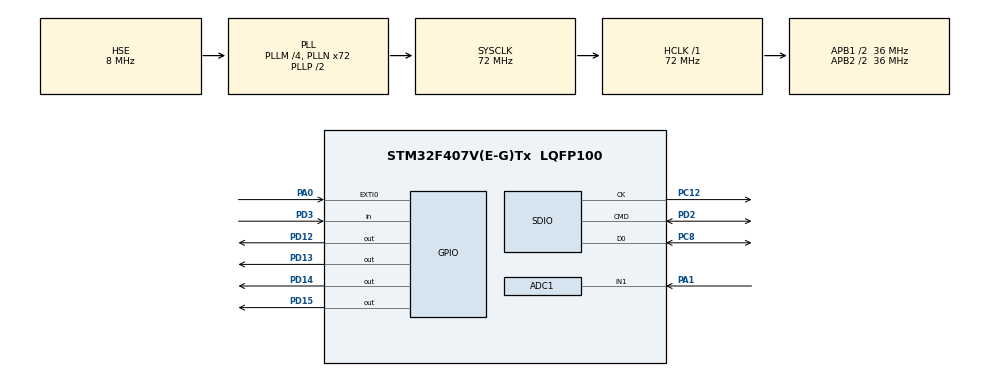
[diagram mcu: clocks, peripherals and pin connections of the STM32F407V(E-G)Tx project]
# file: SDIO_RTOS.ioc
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ADC1.Channel-0\#ChannelRegularConversion=ADC_CHANNEL_1
ADC1.NbrOfConversionFlag=1
ADC1.Rank-0\#ChannelRegularConversion=1
ADC1.SamplingTime-0\#ChannelRegularConversion=ADC_SAMPLETIME_3CYCLES
ADC1.master=1
Dma.Request0=SDIO_RX
Dma.Request1=SDIO_TX
Dma.SDIO_RX.0.Direction=DMA_PERIPH_TO_MEMORY
Dma.SDIO_RX.0.FIFOMode=DMA_FIFOMODE_ENABLE
Dma.SDIO_RX.0.FIFOThreshold=DMA_FIFO_THRESHOLD_FULL
Dma.SDIO_RX.0.Instance=DMA2_Stream3
Dma.SDIO_RX.0.MemBurst=DMA_MBURST_INC4
Dma.SDIO_RX.0.MemDataAlignment=DMA_MDATAALIGN_WORD
Dma.SDIO_RX.0.MemInc=DMA_MINC_ENABLE
Dma.SDIO_RX.0.Mode=DMA_PFCTRL
Dma.SDIO_RX.0.PeriphBurst=DMA_PBURST_INC4
Dma.SDIO_RX.0.PeriphDataAlignment=DMA_PDATAALIGN_WORD
Dma.SDIO_RX.0.PeriphInc=DMA_PINC_DISABLE
Dma.SDIO_RX.0.Priority=DMA_PRIORITY_LOW
Dma.SDIO_TX.1.Direction=DMA_MEMORY_TO_PERIPH
Dma.SDIO_TX.1.FIFOMode=DMA_FIFOMODE_ENABLE
Dma.SDIO_TX.1.FIFOThreshold=DMA_FIFO_THRESHOLD_FULL
Dma.SDIO_TX.1.Instance=DMA2_Stream6
Dma.SDIO_TX.1.MemBurst=DMA_MBURST_INC4
Dma.SDIO_TX.1.MemDataAlignment=DMA_MDATAALIGN_WORD
Dma.SDIO_TX.1.MemInc=DMA_MINC_ENABLE
Dma.SDIO_TX.1.Mode=DMA_PFCTRL
Dma.SDIO_TX.1.PeriphBurst=DMA_PBURST_INC4
Dma.SDIO_TX.1.PeriphDataAlignment=DMA_PDATAALIGN_WORD
Dma.SDIO_TX.1.PeriphInc=DMA_PINC_DISABLE
Dma.SDIO_TX.1.Priority=DMA_PRIORITY_LOW
FATFS.BSP.number=1
FATFS._FS_REENTRANT=0
FATFS._MAX_SS=512
FATFS._MIN_SS=512
FATFS._USE_LFN=3
FATFS0.BSP.STBoard=false
FATFS0.BSP.api=Unknown
FATFS0.BSP.instance=PD3
FATFS0.BSP.ip=GPIO
FATFS0.BSP.mode=Input
FATFS0.BSP.name=Detect_SDIO
FATFS0.BSP.solution=PD3
FREERTOS.BinarySemaphores01=BinarySemSD_CARD,Dynamic,NULL,Available
FREERTOS.Queues01=RTC_Queue,6,uint8_t,0,Dynamic,NULL,NULL;ADC_Queue,1,uint16_t,0,Dynamic,NULL,NULL;Encrypt_DATAQueue,33,char,0,Dynamic,NULL,NULL
FREERTOS.Tasks01=defaultTask,24,128,StartDefaultTask,Default,NULL,Dynamic,NULL,NULL;ADC_Task,29,128,Get_ADC_Val,Default,NULL,Dynamic,NULL,NULL;SDIO_Task,26,128,Write_TO_SDIO,Default,NULL,Dynamic,NULL,NULL;RTC_Task,28,128,Get_Time_Date,Default,NULL,Dynamic,NULL,NULL;Encrypt_Task,27,128,Encrypt_DATA,Default,NULL,Dynamic,NULL,NULL;Decrypt_Task,25,128,Decrypt_DATA,Default,NULL,Dynamic,NULL,NULL
FREERTOS.configUSE_NEWLIB_REENTRANT=1
Mcu.Family=STM32F4
Mcu.Name=STM32F407V(E-G)Tx
Mcu.Package=LQFP100
NVIC.DMA2_Stream3_IRQn=true\:5\:0\:false\:false\:true\:true\:false\:true\:true
NVIC.DMA2_Stream6_IRQn=true\:5\:0\:false\:false\:true\:true\:false\:true\:true
NVIC.EXTI0_IRQn=true\:5\:0\:false\:false\:true\:true\:true\:true\:true
NVIC.PriorityGroup=NVIC_PRIORITYGROUP_4
NVIC.SDIO_IRQn=true\:5\:0\:false\:false\:true\:true\:true\:true\:true
NVIC.TIM6_DAC_IRQn=true\:15\:0\:false\:false\:true\:false\:false\:true\:true
NVIC.TimeBase=TIM6_DAC_IRQn
NVIC.TimeBaseIP=TIM6
PA0-WKUP.Signal=GPXTI0
PA1.Signal=ADCx_IN1
PC12.Mode=SD_1_bit
PC12.Signal=SDIO_CK
PC8.Mode=SD_1_bit
PC8.Signal=SDIO_D0
PD12.GPIO_PuPd=GPIO_PULLDOWN
PD12.Signal=GPIO_Output
PD13.GPIO_PuPd=GPIO_PULLDOWN
PD13.Signal=GPIO_Output
PD14.GPIO_PuPd=GPIO_PULLDOWN
PD14.Signal=GPIO_Output
PD15.GPIO_PuPd=GPIO_PULLDOWN
PD15.Signal=GPIO_Output
PD2.Mode=SD_1_bit
PD2.Signal=SDIO_CMD
PD3.Signal=GPIO_Input
PH0-OSC_IN.Mode=HSE-External-Oscillator
PH0-OSC_IN.Signal=RCC_OSC_IN
PH1-OSC_OUT.Mode=HSE-External-Oscillator
PH1-OSC_OUT.Signal=RCC_OSC_OUT
ProjectManager.HeapSize=0x200
ProjectManager.StackSize=0x400
ProjectManager.TargetToolchain=STM32CubeIDE
RCC.48MHZClocksFreq_Value=20571428.57142857
RCC.AHBFreq_Value=72000000
RCC.APB1CLKDivider=RCC_HCLK_DIV2
RCC.APB1Freq_Value=36000000
RCC.APB1TimFreq_Value=72000000
RCC.APB2CLKDivider=RCC_HCLK_DIV2
RCC.APB2Freq_Value=36000000
RCC.APB2TimFreq_Value=72000000
RCC.CortexFreq_Value=72000000
RCC.HCLKFreq_Value=72000000
RCC.HSE_VALUE=8000000
RCC.HSI_VALUE=16000000
RCC.LSE_VALUE=32768
RCC.PLLM=4
RCC.PLLN=72
RCC.PLLQ=7
RCC.PLLSourceVirtual=RCC_PLLSOURCE_HSE
RCC.SYSCLKFreq_VALUE=72000000
RCC.SYSCLKSource=RCC_SYSCLKSOURCE_PLLCLK
RCC.VCOOutputFreq_Value=144000000
RTC.Date=17
RTC.Hours=15
RTC.Minutes=36
RTC.Month=RTC_MONTH_JULY
RTC.WeekDay=RTC_WEEKDAY_THURSDAY
SH.ADCx_IN1.0=ADC1_IN1,IN1
VP_FATFS_VS_SDIO.Mode=SDIO
VP_FREERTOS_VS_CMSIS_V2.Mode=CMSIS_V2
VP_RNG_VS_RNG.Mode=RNG_Activate
VP_RTC_VS_RTC_Activate.Mode=RTC_Enabled
VP_RTC_VS_RTC_Calendar.Mode=RTC_Calendar
VP_SYS_VS_tim6.Mode=TIM6
board=STM32F407G-DISC1

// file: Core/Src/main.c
/* USER CODE BEGIN Header */
/**
  ******************************************************************************
  * @file           : main.c
  * @brief          : Main program body
  ******************************************************************************
  * @attention
  *
  * Copyright (c) 2025 STMicroelectronics.
  * All rights reserved.
  *
  * This software is licensed under terms that can be found in the LICENSE file
  * in the root directory of this software component.
  * If no LICENSE file comes with this software, it is provided AS-IS.
  *
  ******************************************************************************
  */
/* USER CODE END Header */
#include "main.h"
#include "cmsis_os.h"
#include "fatfs.h"

/* USER CODE BEGIN Includes */
#include "stdio.h"
#include "crypto.h"
#include "string.h"
/* USER CODE END Includes */

/* USER CODE BEGIN PTD */

// Structure pour stocker les informations de temps et de date du RTC
typedef struct
	{
	uint8_t Hours;
	uint8_t Minutes;
	uint8_t Seconds;
	uint8_t Month;
	uint8_t Date;
	uint8_t Year;
	}Struct_RTC;

/* USER CODE END PTD */

/* USER CODE BEGIN PD */

// Nom du fichier dans lequel les données chiffrées seront stockées
#define FILENAME "ENCRYP_FILE.txt"

// Taille du texte en clair (avant chiffrement) en octets
// Ici : 16 octets = taille typique pour un bloc AES-128
#define PLAINTEXT_LENGTH 16

/* USER CODE END PD */

ADC_HandleTypeDef hadc1;

RNG_HandleTypeDef hrng;

RTC_HandleTypeDef hrtc;

SD_HandleTypeDef hsd;
DMA_HandleTypeDef hdma_sdio_rx;
DMA_HandleTypeDef hdma_sdio_tx;

/* Definitions for defaultTask */
osThreadId_t defaultTaskHandle;
const osThreadAttr_t defaultTask_attributes = {
  .name = "defaultTask",
  .stack_size = 128 * 4,
  .priority = (osPriority_t) osPriorityNormal,
};
/* Definitions for ADC_Task */
osThreadId_t ADC_TaskHandle;
const osThreadAttr_t ADC_Task_attributes = {
  .name = "ADC_Task",
  .stack_size = 128 * 4,
  .priority = (osPriority_t) osPriorityNormal5,
};
/* Definitions for SDIO_Task */
osThreadId_t SDIO_TaskHandle;
const osThreadAttr_t SDIO_Task_attributes = {
  .name = "SDIO_Task",
  .stack_size = 128 * 4,
  .priority = (osPriority_t) osPriorityNormal2,
};
/* Definitions for RTC_Task */
osThreadId_t RTC_TaskHandle;
const osThreadAttr_t RTC_Task_attributes = {
  .name = "RTC_Task",
  .stack_size = 128 * 4,
  .priority = (osPriority_t) osPriorityNormal4,
};
/* Definitions for Encrypt_Task */
osThreadId_t Encrypt_TaskHandle;
const osThreadAttr_t Encrypt_Task_attributes = {
  .name = "Encrypt_Task",
  .stack_size = 128 * 4,
  .priority = (osPriority_t) osPriorityNormal3,
};
/* Definitions for Decrypt_Task */
osThreadId_t Decrypt_TaskHandle;
const osThreadAttr_t Decrypt_Task_attributes = {
  .name = "Decrypt_Task",
  .stack_size = 128 * 4,
  .priority = (osPriority_t) osPriorityNormal1,
};
/* Definitions for RTC_Queue */
osMessageQueueId_t RTC_QueueHandle;
const osMessageQueueAttr_t RTC_Queue_attributes = {
  .name = "RTC_Queue"
};
/* Definitions for ADC_Queue */
osMessageQueueId_t ADC_QueueHandle;
const osMessageQueueAttr_t ADC_Queue_attributes = {
  .name = "ADC_Queue"
};
/* Definitions for Encrypt_DATAQueue */
osMessageQueueId_t Encrypt_DATAQueueHandle;
const osMessageQueueAttr_t Encrypt_DATAQueue_attributes = {
  .name = "Encrypt_DATAQueue"
};
/* Definitions for BinarySemSD_CARD */
osSemaphoreId_t BinarySemSD_CARDHandle;
const osSemaphoreAttr_t BinarySemSD_CARD_attributes = {
  .name = "BinarySemSD_CARD"
};
/* USER CODE BEGIN PV */
FRESULT state;
FRESULT res;
uint16_t ADC_VAL = 0;
uint16_t ADC_VAL_GET = 0;
uint8_t WelcomeMsg[] = "STM32 FATFS works great!\n\r";
FATFS fs;
FIL file;

RTC_TimeTypeDef ActualTime = {0};
RTC_DateTypeDef ActualDate = {0};

Struct_RTC RTC_data;
Struct_RTC RTC_data_received;

uint8_t Plaintext[16] = {0};
AESCBCctx_stt AESctx;
int32_t output_enc_length = 0;
int32_t output_dec_length = 0;

uint8_t OutputEncMessage[40];
uint8_t OutputDecMessage[40];
uint32_t OutputMessageLength = 0;

uint8_t data[40];

char EncodedHexbuff[70];
char Rec_EncodedHexbuff[70];
uint8_t showpress[30];
uint32_t counter = 0;
char SD_W_Buff[70];
/* USER CODE END PV */

void SystemClock_Config(void);
static void MX_GPIO_Init(void);
static void MX_DMA_Init(void);
static void MX_ADC1_Init(void);
static void MX_SDIO_SD_Init(void);
static void MX_RTC_Init(void);
static void MX_RNG_Init(void);
void StartDefaultTask(void *argument);
void Get_ADC_Val(void *argument);
void Write_TO_SDIO(void *argument);
void Get_Time_Date(void *argument);
void Encrypt_DATA(void *argument);
void Decrypt_DATA(void *argument);

/* USER CODE BEGIN PFP */

// Clé de chiffrement symétrique (AES)
uint8_t Key[] =
  {
    0x70, 0x3a, 0xec, 0x12, 0x14, 0xca, 0x54, 0xad,
    0x3b, 0x65, 0x11, 0xfe, 0xff, 0x7a, 0x75, 0x83,
    0x2f, 0x36, 0x2e, 0x03, 0x3d, 0x62, 0x09, 0x7d,
  };

// Vecteur d'initialisation (IV) utilisé pour AES en mode CBC
uint8_t IV[] =
  {
    0x00, 0x01, 0x02, 0x03, 0x04, 0x05, 0x06, 0x07,
    0x08, 0x09, 0x0a, 0x0b, 0x0c, 0x0d, 0x0e, 0x0f
  };
/* USER CODE END PFP */

/* USER CODE BEGIN 0 */

//Convertit un tableau de bytes en chaîne hexadécimale.
void EncodeHex(uint8_t *input, uint32_t length, char *output)
{
    for (uint32_t i = 0; i < length; i++) {
        sprintf(&output[i * 2], "%02X", input[i]);
    }
    output[length * 2] = '\0'; // null-terminate
}

void HAL_GPIO_EXTI_Callback(uint16_t GPIO_Pin)
{
	if(GPIO_Pin == GPIO_PIN_0)
	{
		HAL_NVIC_DisableIRQ(EXTI0_IRQn);
		counter++;
		if(osSemaphoreRelease(BinarySemSD_CARDHandle)!=osOK)
		{
		   Error_Handler();
		}
	}
}
/* USER CODE END 0 */

int main(void)
{

  /* MCU Configuration--------------------------------------------------------*/

  /* Reset of all peripherals, Initializes the Flash interface and the Systick. */
  HAL_Init();

  /* Configure the system clock */
  SystemClock_Config();

  /* Initialize all configured peripherals */
  MX_GPIO_Init();
  MX_DMA_Init();
  MX_ADC1_Init();
  MX_SDIO_SD_Init();
  MX_FATFS_Init();
  MX_RTC_Init();
  MX_RNG_Init();

  /* Init scheduler */
  osKernelInitialize();

  /* Create the semaphores(s) */
  /* creation of BinarySemSD_CARD */
  BinarySemSD_CARDHandle = osSemaphoreNew(1, 1, &BinarySemSD_CARD_attributes);

  /* Create the queue(s) */
  /* creation of RTC_Queue */
  RTC_QueueHandle = osMessageQueueNew (6, sizeof(Struct_RTC), &RTC_Queue_attributes);

  /* creation of ADC_Queue */
  ADC_QueueHandle = osMessageQueueNew (1, sizeof(uint16_t), &ADC_Queue_attributes);

  /* creation of Encrypt_DATAQueue */
  Encrypt_DATAQueueHandle = osMessageQueueNew (1, sizeof(EncodedHexbuff), &Encrypt_DATAQueue_attributes);

  /* Create the thread(s) */
  /* creation of defaultTask */
  defaultTaskHandle = osThreadNew(StartDefaultTask, NULL, &defaultTask_attributes);

  /* creation of ADC_Task */
  ADC_TaskHandle = osThreadNew(Get_ADC_Val, NULL, &ADC_Task_attributes);

  /* creation of SDIO_Task */
  SDIO_TaskHandle = osThreadNew(Write_TO_SDIO, NULL, &SDIO_Task_attributes);

  /* creation of RTC_Task */
  RTC_TaskHandle = osThreadNew(Get_Time_Date, NULL, &RTC_Task_attributes);

  /* creation of Encrypt_Task */
  Encrypt_TaskHandle = osThreadNew(Encrypt_DATA, NULL, &Encrypt_Task_attributes);

  /* creation of Decrypt_Task */
  Decrypt_TaskHandle = osThreadNew(Decrypt_DATA, NULL, &Decrypt_Task_attributes);

  /* Start scheduler */
  osKernelStart();

  /* We should never get here as control is now taken by the scheduler */

  /* Infinite loop */
  while (1)
  {

  }
}

void SystemClock_Config(void)
{
  RCC_OscInitTypeDef RCC_OscInitStruct = {0};
  RCC_ClkInitTypeDef RCC_ClkInitStruct = {0};

  /** Configure the main internal regulator output voltage
  */
  __HAL_RCC_PWR_CLK_ENABLE();
  __HAL_PWR_VOLTAGESCALING_CONFIG(PWR_REGULATOR_VOLTAGE_SCALE1);

  /** Initializes the RCC Oscillators according to the specified parameters
  * in the RCC_OscInitTypeDef structure.
  */
  RCC_OscInitStruct.OscillatorType = RCC_OSCILLATORTYPE_LSI|RCC_OSCILLATORTYPE_HSE;
  RCC_OscInitStruct.HSEState = RCC_HSE_ON;
  RCC_OscInitStruct.LSIState = RCC_LSI_ON;
  RCC_OscInitStruct.PLL.PLLState = RCC_PLL_ON;
  RCC_OscInitStruct.PLL.PLLSource = RCC_PLLSOURCE_HSE;
  RCC_OscInitStruct.PLL.PLLM = 4;
  RCC_OscInitStruct.PLL.PLLN = 72;
  RCC_OscInitStruct.PLL.PLLP = RCC_PLLP_DIV2;
  RCC_OscInitStruct.PLL.PLLQ = 7;
  if (HAL_RCC_OscConfig(&RCC_OscInitStruct) != HAL_OK)
  {
    Error_Handler();
  }

  /** Initializes the CPU, AHB and APB buses clocks
  */
  RCC_ClkInitStruct.ClockType = RCC_CLOCKTYPE_HCLK|RCC_CLOCKTYPE_SYSCLK
                              |RCC_CLOCKTYPE_PCLK1|RCC_CLOCKTYPE_PCLK2;
  RCC_ClkInitStruct.SYSCLKSource = RCC_SYSCLKSOURCE_PLLCLK;
  RCC_ClkInitStruct.AHBCLKDivider = RCC_SYSCLK_DIV1;
  RCC_ClkInitStruct.APB1CLKDivider = RCC_HCLK_DIV2;
  RCC_ClkInitStruct.APB2CLKDivider = RCC_HCLK_DIV2;

  if (HAL_RCC_ClockConfig(&RCC_ClkInitStruct, FLASH_LATENCY_2) != HAL_OK)
  {
    Error_Handler();
  }
}

static void MX_ADC1_Init(void)
{

  ADC_ChannelConfTypeDef sConfig = {0};

  /** Configure the global features of the ADC (Clock, Resolution, Data Alignment and number of conversion)
  */
  hadc1.Instance = ADC1;
  hadc1.Init.ClockPrescaler = ADC_CLOCK_SYNC_PCLK_DIV2;
  hadc1.Init.Resolution = ADC_RESOLUTION_12B;
  hadc1.Init.ScanConvMode = DISABLE;
  hadc1.Init.ContinuousConvMode = DISABLE;
  hadc1.Init.DiscontinuousConvMode = DISABLE;
  hadc1.Init.ExternalTrigConvEdge = ADC_EXTERNALTRIGCONVEDGE_NONE;
  hadc1.Init.ExternalTrigConv = ADC_SOFTWARE_START;
  hadc1.Init.DataAlign = ADC_DATAALIGN_RIGHT;
  hadc1.Init.NbrOfConversion = 1;
  hadc1.Init.DMAContinuousRequests = DISABLE;
  hadc1.Init.EOCSelection = ADC_EOC_SINGLE_CONV;
  if (HAL_ADC_Init(&hadc1) != HAL_OK)
  {
    Error_Handler();
  }

  /** Configure for the selected ADC regular channel its corresponding rank in the sequencer and its sample time.
  */
  sConfig.Channel = ADC_CHANNEL_1;
  sConfig.Rank = 1;
  sConfig.SamplingTime = ADC_SAMPLETIME_3CYCLES;
  if (HAL_ADC_ConfigChannel(&hadc1, &sConfig) != HAL_OK)
  {
    Error_Handler();
  }

}

static void MX_RNG_Init(void)
{

  hrng.Instance = RNG;
  if (HAL_RNG_Init(&hrng) != HAL_OK)
  {
    Error_Handler();
  }

}

static void MX_RTC_Init(void)
{

  RTC_TimeTypeDef sTime = {0};
  RTC_DateTypeDef sDate = {0};

  /** Initialize RTC Only
  */
  hrtc.Instance = RTC;
  hrtc.Init.HourFormat = RTC_HOURFORMAT_24;
  hrtc.Init.AsynchPrediv = 127;
  hrtc.Init.SynchPrediv = 255;
  hrtc.Init.OutPut = RTC_OUTPUT_DISABLE;
  hrtc.Init.OutPutPolarity = RTC_OUTPUT_POLARITY_HIGH;
  hrtc.Init.OutPutType = RTC_OUTPUT_TYPE_OPENDRAIN;
  if (HAL_RTC_Init(&hrtc) != HAL_OK)
  {
    Error_Handler();
  }

  /** Initialize RTC and set the Time and Date
  */
  sTime.Hours = 0x15;
  sTime.Minutes = 0x36;
  sTime.Seconds = 0x0;
  sTime.DayLightSaving = RTC_DAYLIGHTSAVING_NONE;
  sTime.StoreOperation = RTC_STOREOPERATION_RESET;
  if (HAL_RTC_SetTime(&hrtc, &sTime, RTC_FORMAT_BCD) != HAL_OK)
  {
    Error_Handler();
  }
  sDate.WeekDay = RTC_WEEKDAY_THURSDAY;
  sDate.Month = RTC_MONTH_JULY;
  sDate.Date = 0x17;
  sDate.Year = 0x0;

  if (HAL_RTC_SetDate(&hrtc, &sDate, RTC_FORMAT_BCD) != HAL_OK)
  {
    Error_Handler();
  }

}

static void MX_SDIO_SD_Init(void)
{

  hsd.Instance = SDIO;
  hsd.Init.ClockEdge = SDIO_CLOCK_EDGE_RISING;
  hsd.Init.ClockBypass = SDIO_CLOCK_BYPASS_DISABLE;
  hsd.Init.ClockPowerSave = SDIO_CLOCK_POWER_SAVE_DISABLE;
  hsd.Init.BusWide = SDIO_BUS_WIDE_1B;
  hsd.Init.HardwareFlowControl = SDIO_HARDWARE_FLOW_CONTROL_DISABLE;
  hsd.Init.ClockDiv = 0;

}

static void MX_DMA_Init(void)
{

  /* DMA controller clock enable */
  __HAL_RCC_DMA2_CLK_ENABLE();

  /* DMA interrupt init */
  /* DMA2_Stream3_IRQn interrupt configuration */
  HAL_NVIC_SetPriority(DMA2_Stream3_IRQn, 5, 0);
  HAL_NVIC_EnableIRQ(DMA2_Stream3_IRQn);
  /* DMA2_Stream6_IRQn interrupt configuration */
  HAL_NVIC_SetPriority(DMA2_Stream6_IRQn, 5, 0);
  HAL_NVIC_EnableIRQ(DMA2_Stream6_IRQn);

}

static void MX_GPIO_Init(void)
{
  GPIO_InitTypeDef GPIO_InitStruct = {0};

  /* GPIO Ports Clock Enable */
  __HAL_RCC_GPIOH_CLK_ENABLE();
  __HAL_RCC_GPIOA_CLK_ENABLE();
  __HAL_RCC_GPIOD_CLK_ENABLE();
  __HAL_RCC_GPIOC_CLK_ENABLE();

  /*Configure GPIO pin Output Level */
  HAL_GPIO_WritePin(GPIOD, GPIO_PIN_12|GPIO_PIN_13|GPIO_PIN_14|GPIO_PIN_15, GPIO_PIN_RESET);

  /*Configure GPIO pin : PA0 */
  GPIO_InitStruct.Pin = GPIO_PIN_0;
  GPIO_InitStruct.Mode = GPIO_MODE_IT_RISING;
  GPIO_InitStruct.Pull = GPIO_NOPULL;
  HAL_GPIO_Init(GPIOA, &GPIO_InitStruct);

  /*Configure GPIO pins : PD12 PD13 PD14 PD15 */
  GPIO_InitStruct.Pin = GPIO_PIN_12|GPIO_PIN_13|GPIO_PIN_14|GPIO_PIN_15;
  GPIO_InitStruct.Mode = GPIO_MODE_OUTPUT_PP;
  GPIO_InitStruct.Pull = GPIO_PULLDOWN;
  GPIO_InitStruct.Speed = GPIO_SPEED_FREQ_LOW;
  HAL_GPIO_Init(GPIOD, &GPIO_InitStruct);

  /*Configure GPIO pin : PD3 */
  GPIO_InitStruct.Pin = GPIO_PIN_3;
  GPIO_InitStruct.Mode = GPIO_MODE_INPUT;
  GPIO_InitStruct.Pull = GPIO_NOPULL;
  HAL_GPIO_Init(GPIOD, &GPIO_InitStruct);

  /* EXTI interrupt init*/
  HAL_NVIC_SetPriority(EXTI0_IRQn, 5, 0);
  HAL_NVIC_EnableIRQ(EXTI0_IRQn);

}

void StartDefaultTask(void *argument)
{
  /* USER CODE BEGIN 5 */
  /* Infinite loop */
  for(;;)
  {
	HAL_GPIO_TogglePin(GPIOD, GPIO_PIN_15);
    osDelay(500);
  }
  /* USER CODE END 5 */
}

void Get_ADC_Val(void *argument)
{
  /* USER CODE BEGIN Get_ADC_Val */
  /* Infinite loop */
  for(;;)
  {
	 if(HAL_ADC_Start(&hadc1)!=HAL_OK)
	 {
	  	Error_Handler();
	 }
	 if(HAL_ADC_PollForConversion(&hadc1, 100)!=HAL_OK)
	 {
	  	Error_Handler();
	 }
	 ADC_VAL = HAL_ADC_GetValue(&hadc1);
	 if(HAL_ADC_Stop(&hadc1)!=HAL_OK)
	 {
	  	Error_Handler();
	 }
	 if(osMessageQueuePut(ADC_QueueHandle, &ADC_VAL, NULL, osWaitForever)!=osOK)
	 {
		 Error_Handler();
	 }
    osDelay(1);
  }
  /* USER CODE END Get_ADC_Val */
}

//Tâche FreeRTOS d’écriture sur carte SD via SDIO
void Write_TO_SDIO(void *argument)
{
  /* USER CODE BEGIN Write_TO_SDIO */
	uint32_t byteswritten;
	char showtime[30];
	char showdate[30];
	char adc_tab[30];
  /* Infinite loop */
  for(;;)
  {
	  // Récupération du buffer hexadécimal depuis la queue (bloc jusqu'à réception)
	  if(osMessageQueueGet(Encrypt_DATAQueueHandle, &Rec_EncodedHexbuff, NULL, osWaitForever)!=osOK)
	  {
	  	 Error_Handler();
	  }
	  // Format du numéro d’événement (presses bouton)
	  sprintf(showpress,"%d: ",counter);
	  // Ajout CR/LF après les données pour le fichier texte
	  snprintf(SD_W_Buff,sizeof(SD_W_Buff),"%s\r\n",Rec_EncodedHexbuff);
	  // Attendre que le sémaphore SD soit disponible (libéré par ISR sur bouton)
	  if(osSemaphoreAcquire(BinarySemSD_CARDHandle, osWaitForever)!=osOK)
	  {
		 Error_Handler();
	  }
	  // Initialisation interface SD
	  if( HAL_SD_Init(&hsd)!=HAL_OK)
	  {
	  	 Error_Handler();
	  }
	  // Montage du système de fichiers FATFS
	  if(f_mount(&fs, "", 1)!=FR_OK)
	  {
	  	 Error_Handler();
	  }
	  // Ouvrir fichier en mode append (création si inexistant)
	  if(f_open(&file, "SD_DATA.txt", FA_WRITE | FA_OPEN_APPEND)!=FR_OK)
	  {
	  	 Error_Handler();
	  }
	  // Écrire l'index d'événement
	  if(f_write(&file, showpress, sizeof(showpress), &byteswritten)== FR_OK)
	  {
	  	 //HAL_GPIO_TogglePin(GPIOD, GPIO_PIN_12);
	  	 HAL_GPIO_WritePin(GPIOD, GPIO_PIN_12, GPIO_PIN_SET);
	  }
	  // Écrire les données chiffrées
	  if(f_write(&file, SD_W_Buff, sizeof(SD_W_Buff), &byteswritten)== FR_OK)
	  {
	  	  	 //HAL_GPIO_TogglePin(GPIOD, GPIO_PIN_12);
	  	  	 HAL_GPIO_WritePin(GPIOD, GPIO_PIN_12, GPIO_PIN_RESET);
	  }
	  // Forcer l'écriture sur la carte
	  if(f_sync(&file)!= FR_OK)
	  {
	  	 Error_Handler();
	  }
	  // Fermer le fichier
	  if(f_close(&file)!= FR_OK)
	  {
	  	 Error_Handler();
	  }
	  HAL_NVIC_EnableIRQ(EXTI0_IRQn);
    osDelay(1);
  }
  /* USER CODE END Write_TO_SDIO */
}

void Get_Time_Date(void *argument)
{
  /* USER CODE BEGIN Get_Time_Date */

  /* Infinite loop */
  for(;;)
  {
	  // Lire l'heure depuis le RTC (format BCD)
	  HAL_RTC_GetTime(&hrtc, &ActualTime, RTC_FORMAT_BCD);
	  // Lire la date depuis le RTC
	  HAL_RTC_GetDate(&hrtc, &ActualDate, RTC_FORMAT_BCD);
	  // Stocker les données temporelles dans la structure utilisateur
	  RTC_data.Hours = ActualTime.Hours;
	  RTC_data.Minutes = ActualTime.Minutes;
	  RTC_data.Seconds = ActualTime.Seconds;
	  RTC_data.Date = ActualDate.Date;
	  RTC_data.Month = ActualDate.Month;
	  RTC_data.Year = ActualDate.Year;
	  // Envoyer les données RTC à la file de messages pour traitement dans une autre tâche
	  if(osMessageQueuePut(RTC_QueueHandle, &RTC_data, NULL, osWaitForever)!=osOK)
      {
		 Error_Handler();
	  }
    osDelay(1);
  }
  /* USER CODE END Get_Time_Date */
}

void Encrypt_DATA(void *argument)
{
  /* USER CODE BEGIN Encrypt_DATA */

	// Activer l'horloge du module CRC utilisé par la librairie de chiffrement
	  __CRC_CLK_ENABLE();
	  // Configuration du contexte AES
	  AESctx.mFlags = E_SK_DEFAULT;
	  AESctx.mKeySize = 24;
	  AESctx.mIvSize = sizeof(IV);
	  uint16_t year = 0;
	  uint32_t data_length =0;
  /* Infinite loop */
  for(;;)
  {
	  // Récupérer les données RTC depuis la queue
	  if(osMessageQueueGet(RTC_QueueHandle, &RTC_data_received, NULL, osWaitForever)!=osOK)
	  {
		 Error_Handler();
	  }
	  // Récupérer la valeur ADC depuis la queue
	  if(osMessageQueueGet(ADC_QueueHandle, &ADC_VAL_GET, NULL, osWaitForever)!=osOK)
	  {
		 Error_Handler();
	  }
	  // Convertir l'année BCD (exemple : 0x24 → 2024)
	  year = 2000+RTC_data_received.Year;
	  // Formater les données en chaîne lisible : Date, Heure, valeur ADC
	  snprintf(data, sizeof(data), "%02d-%02d-%04d %02d:%02d:%02d, ADC_VAL=%04d",
			   RTC_data_received.Date,
	           RTC_data_received.Month,
			   year,
	           RTC_data_received.Hours,
	           RTC_data_received.Minutes,
	           RTC_data_received.Seconds,
	           ADC_VAL_GET);
	      data_length = strlen(data);
	      // Initialiser le chiffrement AES CBC
	      if(AES_CBC_Encrypt_Init(&AESctx, Key, IV)!=AES_SUCCESS)
	  	  {
	  		  Error_Handler();
	  	  }
	      // Chiffrer le message
	  	  if(AES_CBC_Encrypt_Append(&AESctx, data, data_length, OutputEncMessage, &output_enc_length)!=AES_SUCCESS)
	  	  {
	  		  Error_Handler();
	  	  }
	  	  // Finaliser l’opération (gestion du padding)
	  	  OutputMessageLength = output_enc_length;
	  	  if(AES_CBC_Encrypt_Finish(&AESctx, OutputEncMessage + output_enc_length, &output_enc_length)!=AES_SUCCESS)
	  	  {
	  		  Error_Handler();
	  	  }
	  	  OutputMessageLength += output_enc_length;
	  	  EncodeHex(OutputEncMessage, OutputMessageLength, EncodedHexbuff);
	  	  // Envoyer le message chiffré à la file Encrypt_DATAQueue
	  	  if(osMessageQueuePut(Encrypt_DATAQueueHandle, &EncodedHexbuff, NULL, osWaitForever)!=osOK)
	  	  {
	  		 Error_Handler();
	  	  }

    osDelay(1);
  }
  /* USER CODE END Encrypt_DATA */
}

void Decrypt_DATA(void *argument)
{
  /* USER CODE BEGIN Decrypt_DATA */
  /* Infinite loop */
  for(;;)
  {
	      //Initialiser le contexte de déchiffrement AES-CBC
	      if(AES_CBC_Decrypt_Init(&AESctx, Key, IV)!=AES_SUCCESS)
	       {
	     	  Error_Handler();
	       }
	      // Déchiffrer les données chiffrées (OutputEncMessage)
	 	  if(AES_CBC_Decrypt_Append(&AESctx, OutputEncMessage, OutputMessageLength, OutputDecMessage, &output_dec_length)!=AES_SUCCESS)
	 	  {
	 	      Error_Handler();
	 	  }
	 	  // Mettre à jour la longueur partielle du message déchiffré
	 	  OutputMessageLength = output_dec_length;
	 	  // Finaliser le déchiffrement pour gérer le padding éventuel
	 	  if(AES_CBC_Decrypt_Finish(&AESctx, OutputDecMessage + output_dec_length, &output_dec_length)!=AES_SUCCESS)
	      {
	     	 Error_Handler();
	      }
	 	  OutputMessageLength += output_dec_length;
    osDelay(1);
  }
  /* USER CODE END Decrypt_DATA */
}

void HAL_TIM_PeriodElapsedCallback(TIM_HandleTypeDef *htim)
{
  if (htim->Instance == TIM6)
  {
    HAL_IncTick();
  }
}

void Error_Handler(void)
{
  /* USER CODE BEGIN Error_Handler_Debug */
  /* User can add his own implementation to report the HAL error return state */
  __disable_irq();
  HAL_GPIO_WritePin(GPIOD, GPIO_PIN_14, GPIO_PIN_SET);
  while (1)
  {
  }
  /* USER CODE END Error_Handler_Debug */
}
